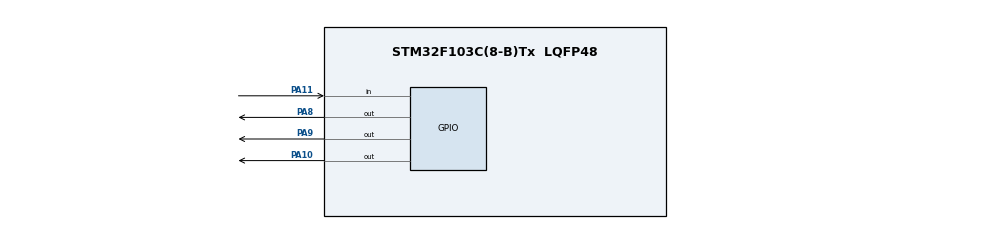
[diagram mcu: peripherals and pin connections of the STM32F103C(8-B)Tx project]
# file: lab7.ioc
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FREERTOS.Tasks01=defaultTask,16,128,StartDefaultTask,Default,NULL,Dynamic,NULL,NULL;BlinkLed1,8,128,StartBlinkLed1,Default,NULL,Dynamic,NULL,NULL;BlinkLed2,8,128,StartBlinkLed2,Default,NULL,Dynamic,NULL,NULL;BlinkLed3,8,128,StartBlinkLed3,Default,NULL,Dynamic,NULL,NULL
Mcu.Family=STM32F1
Mcu.Name=STM32F103C(8-B)Tx
Mcu.Package=LQFP48
NVIC.PriorityGroup=NVIC_PRIORITYGROUP_4
PA10.Signal=GPIO_Output
PA11.Signal=GPIO_Input
PA13.Mode=Serial_Wire
PA13.Signal=SYS_JTMS-SWDIO
PA14.Mode=Serial_Wire
PA14.Signal=SYS_JTCK-SWCLK
PA8.Signal=GPIO_Output
PA9.Signal=GPIO_Output
PC14-OSC32_IN.Mode=LSE-External-Clock-Source
PC14-OSC32_IN.Signal=RCC_OSC32_IN
PC15-OSC32_OUT.Mode=LSE-External-Clock-Source
PC15-OSC32_OUT.Signal=RCC_OSC32_OUT
PD0-OSC_IN.Mode=HSE-External-Clock-Source
PD0-OSC_IN.Signal=RCC_OSC_IN
PD1-OSC_OUT.Mode=HSE-External-Clock-Source
PD1-OSC_OUT.Signal=RCC_OSC_OUT
ProjectManager.HeapSize=0x200
ProjectManager.StackSize=0x400
ProjectManager.TargetToolchain=STM32CubeIDE
RCC.APB1Freq_Value=8000000
RCC.APB2Freq_Value=8000000
VP_FREERTOS_VS_CMSIS_V2.Mode=CMSIS_V2
board=custom

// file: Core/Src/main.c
/* USER CODE BEGIN Header */
/**
  ******************************************************************************
  * @file           : main.c
  * @brief          : Main program body
  ******************************************************************************
  * @attention
  *
  * Copyright (c) 2026 STMicroelectronics.
  * All rights reserved.
  *
  * This software is licensed under terms that can be found in the LICENSE file
  * in the root directory of this software component.
  * If no LICENSE file comes with this software, it is provided AS-IS.
  *
  ******************************************************************************
  *variant 2 - Blink 3 leds in separate threads
  *led1 freq = 10hz, time on = 50ms
  *led2 freq = 4hz, time on = 150ms
  *led3 freq = 2hz, time on = 300ms
  *button presses change led 1 time on from 50 ms to 200 ms
  *
  *CONNECTIONS
  *led1 - PA8
  *led2 - PA9
  *led3 - PA10
  *button - PA11
  *
  */
/* USER CODE END Header */
#include "main.h"
#include "cmsis_os.h"

/* Definitions for defaultTask */
osThreadId_t defaultTaskHandle;
const osThreadAttr_t defaultTask_attributes = {
  .name = "defaultTask",
  .stack_size = 128 * 4,
  .priority = (osPriority_t) osPriorityBelowNormal,
};
/* Definitions for BlinkLed1 */
osThreadId_t BlinkLed1Handle;
const osThreadAttr_t BlinkLed1_attributes = {
  .name = "BlinkLed1",
  .stack_size = 128 * 4,
  .priority = (osPriority_t) osPriorityLow,
};
/* Definitions for BlinkLed2 */
osThreadId_t BlinkLed2Handle;
const osThreadAttr_t BlinkLed2_attributes = {
  .name = "BlinkLed2",
  .stack_size = 128 * 4,
  .priority = (osPriority_t) osPriorityLow,
};
/* Definitions for BlinkLed3 */
osThreadId_t BlinkLed3Handle;
const osThreadAttr_t BlinkLed3_attributes = {
  .name = "BlinkLed3",
  .stack_size = 128 * 4,
  .priority = (osPriority_t) osPriorityLow,
};

void SystemClock_Config(void);
static void MX_GPIO_Init(void);
void StartDefaultTask(void *argument);
void StartBlinkLed1(void *argument);
void StartBlinkLed2(void *argument);
void StartBlinkLed3(void *argument);

/* USER CODE BEGIN 0 */
uint32_t delayLed1 = 50;
uint8_t butState = 0;

/* USER CODE END 0 */

int main(void)
{

  /* MCU Configuration--------------------------------------------------------*/

  /* Reset of all peripherals, Initializes the Flash interface and the Systick. */
  HAL_Init();

  /* Configure the system clock */
  SystemClock_Config();

  /* Initialize all configured peripherals */
  MX_GPIO_Init();

  /* Init scheduler */
  osKernelInitialize();

  /* Create the thread(s) */
  /* creation of defaultTask */
  defaultTaskHandle = osThreadNew(StartDefaultTask, NULL, &defaultTask_attributes);

  /* creation of BlinkLed1 */
  BlinkLed1Handle = osThreadNew(StartBlinkLed1, NULL, &BlinkLed1_attributes);

  /* creation of BlinkLed2 */
  BlinkLed2Handle = osThreadNew(StartBlinkLed2, NULL, &BlinkLed2_attributes);

  /* creation of BlinkLed3 */
  BlinkLed3Handle = osThreadNew(StartBlinkLed3, NULL, &BlinkLed3_attributes);

  /* Start scheduler */
  osKernelStart();

  /* We should never get here as control is now taken by the scheduler */

  /* Infinite loop */
  while (1)
  {
	  HAL_Delay(1000);

  }
}

void SystemClock_Config(void)
{
  RCC_OscInitTypeDef RCC_OscInitStruct = {0};
  RCC_ClkInitTypeDef RCC_ClkInitStruct = {0};

  /** Initializes the RCC Oscillators according to the specified parameters
  * in the RCC_OscInitTypeDef structure.
  */
  RCC_OscInitStruct.OscillatorType = RCC_OSCILLATORTYPE_HSI;
  RCC_OscInitStruct.HSIState = RCC_HSI_ON;
  RCC_OscInitStruct.HSICalibrationValue = RCC_HSICALIBRATION_DEFAULT;
  RCC_OscInitStruct.PLL.PLLState = RCC_PLL_NONE;
  if (HAL_RCC_OscConfig(&RCC_OscInitStruct) != HAL_OK)
  {
    Error_Handler();
  }

  /** Initializes the CPU, AHB and APB buses clocks
  */
  RCC_ClkInitStruct.ClockType = RCC_CLOCKTYPE_HCLK|RCC_CLOCKTYPE_SYSCLK
                              |RCC_CLOCKTYPE_PCLK1|RCC_CLOCKTYPE_PCLK2;
  RCC_ClkInitStruct.SYSCLKSource = RCC_SYSCLKSOURCE_HSI;
  RCC_ClkInitStruct.AHBCLKDivider = RCC_SYSCLK_DIV1;
  RCC_ClkInitStruct.APB1CLKDivider = RCC_HCLK_DIV1;
  RCC_ClkInitStruct.APB2CLKDivider = RCC_HCLK_DIV1;

  if (HAL_RCC_ClockConfig(&RCC_ClkInitStruct, FLASH_LATENCY_0) != HAL_OK)
  {
    Error_Handler();
  }
}

static void MX_GPIO_Init(void)
{
  GPIO_InitTypeDef GPIO_InitStruct = {0};

  /* GPIO Ports Clock Enable */
  __HAL_RCC_GPIOC_CLK_ENABLE();
  __HAL_RCC_GPIOD_CLK_ENABLE();
  __HAL_RCC_GPIOA_CLK_ENABLE();

  /*Configure GPIO pin Output Level */
  HAL_GPIO_WritePin(GPIOA, GPIO_PIN_8|GPIO_PIN_9|GPIO_PIN_10, GPIO_PIN_RESET);

  /*Configure GPIO pins : PA8 PA9 PA10 */
  GPIO_InitStruct.Pin = GPIO_PIN_8|GPIO_PIN_9|GPIO_PIN_10;
  GPIO_InitStruct.Mode = GPIO_MODE_OUTPUT_PP;
  GPIO_InitStruct.Pull = GPIO_NOPULL;
  GPIO_InitStruct.Speed = GPIO_SPEED_FREQ_LOW;
  HAL_GPIO_Init(GPIOA, &GPIO_InitStruct);

  /*Configure GPIO pin : PA11 */
  GPIO_InitStruct.Pin = GPIO_PIN_11;
  GPIO_InitStruct.Mode = GPIO_MODE_INPUT;
  GPIO_InitStruct.Pull = GPIO_NOPULL;
  HAL_GPIO_Init(GPIOA, &GPIO_InitStruct);

}

void StartDefaultTask(void *argument)
{
  /* USER CODE BEGIN 5 */
  /* Infinite loop */
  for(;;)
  {
	  if(HAL_GPIO_ReadPin(GPIOA, GPIO_PIN_11) == GPIO_PIN_SET)
	  {
		  if(butState == 0)
		  {
			  delayLed1 = (delayLed1 + 50)%250;
		  }

		  butState = 1;
	  } else {
		  butState = 0;
	  }
	  vTaskDelay(100);
  }
  /* USER CODE END 5 */
}

void StartBlinkLed1(void *argument)
{
  /* USER CODE BEGIN StartBlinkLed1 */
  /* Infinite loop */
  for(;;)
  {
	  HAL_GPIO_WritePin(GPIOA, GPIO_PIN_8, GPIO_PIN_SET);
	  osDelay(delayLed1);
	  HAL_GPIO_WritePin(GPIOA, GPIO_PIN_8, GPIO_PIN_RESET);
	  osDelay(delayLed1);
  }
  /* USER CODE END StartBlinkLed1 */
}

void StartBlinkLed2(void *argument)
{
  /* USER CODE BEGIN StartBlinkLed2 */
  /* Infinite loop */
  for(;;)
  {
	  HAL_GPIO_WritePin(GPIOA, GPIO_PIN_9, GPIO_PIN_SET);
	  osDelay(150);
	  HAL_GPIO_WritePin(GPIOA, GPIO_PIN_9, GPIO_PIN_RESET);
	  osDelay(100);
  }
  /* USER CODE END StartBlinkLed2 */
}

void StartBlinkLed3(void *argument)
{
  /* USER CODE BEGIN StartBlinkLed3 */
  /* Infinite loop */
  for(;;)
  {
	  HAL_GPIO_WritePin(GPIOA, GPIO_PIN_10, GPIO_PIN_SET);
	  osDelay(300);
	  HAL_GPIO_WritePin(GPIOA, GPIO_PIN_10, GPIO_PIN_RESET);
	  osDelay(200);
  }
  /* USER CODE END StartBlinkLed3 */
}

void Error_Handler(void)
{
  __disable_irq();
  while (1)
  {
  }
}
